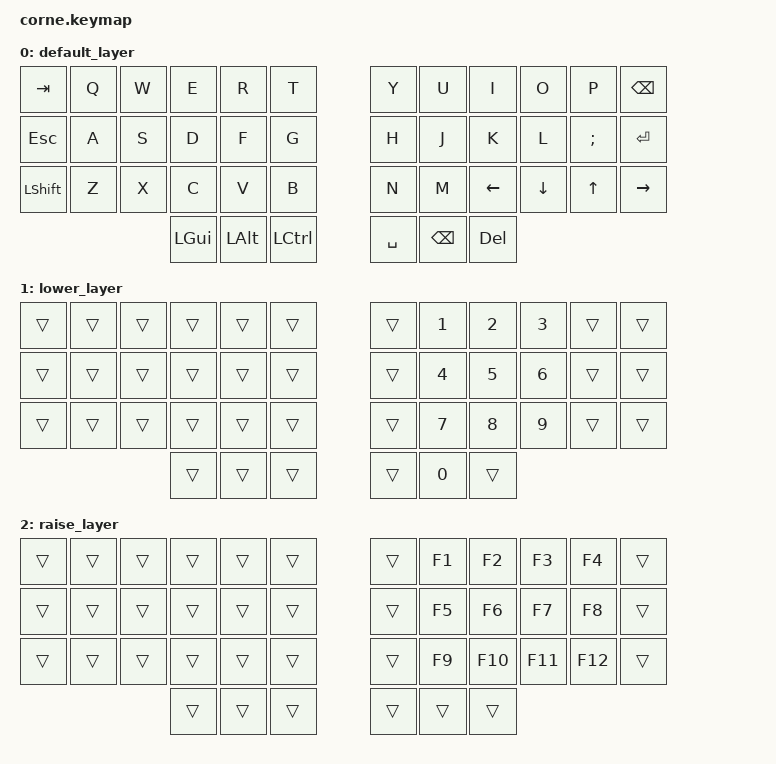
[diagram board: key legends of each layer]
/*
 * Copyright (c) 2020 The ZMK Contributors
 *
 * SPDX-License-Identifier: MIT
 */

#include <behaviors.dtsi>
#include <dt-bindings/zmk/keys.h>
#include <dt-bindings/zmk/bt.h>

/ {
        keymap {
                compatible = "zmk,keymap";


                default_layer {
// -----------------------------------------------------------------------------------------
// |  TAB |  Q  |  W  |  E  |  R  |  T  |   |  Y  |  U   |  I   |   O  |  P  |  BSPC |
// |  ESC |  A  |  S  |  D  |  F  |  G  |   |  H  |  J   |  K   |  L   |  ;  |  RET  |
// | SHFT |  Z  |  X  |  C  |  V  |  B  |   |  N  |  M   | LEFT | DOWN |  UP | RIGHT |
//                   | GUI | ALT | CTRL |   | SPC | BSPC | DEL |
                        bindings = <
   &kp TAB   &kp Q &kp W &kp E &kp R &kp T   &kp Y &kp U  &kp I     &kp O    &kp P          &kp BSPC
   &kp ESC   &kp A &kp S &kp D &kp F &kp G   &kp H &kp J  &kp K     &kp L    &kp SEMICOLON  &kp RET
   &kp LSHFT &kp Z &kp X &kp C &kp V &kp B   &kp N &kp M  &kp LEFT  &kp DOWN &kp UP         &kp RIGHT
               &kp LGUI &kp LALT &kp LCTRL   &kp SPC &kp BSPC &kp DEL
                        >;
                };
                lower_layer {
// -----------------------------------------------------------------------------------------
// |  TAB |  1  |  2  |  3  |  4  |  5  |   |  6  |  7  |  8  |  9  |  0  | BSPC |
// | BTCLR| BT1 | BT2 | BT3 | BT4 | BT5 |   | LFT | DWN |  UP | RGT |     |      |
// | SHFT |     |     |    3 |     |     |   |     |     |     |     |     |      |
//                    | GUI |     | SPC |   | ENT |     | ALT |
                        bindings = <
   &trans &trans &trans &trans &trans &trans   &trans &kp N1 &kp N2 &kp N3 &trans &trans
   &trans &trans &trans &trans &trans &trans   &trans &kp N4 &kp N5 &kp N6 &trans &trans
   &trans &trans &trans &trans &trans &trans   &trans &kp N7 &kp N8 &kp N9 &trans &trans
                        &trans &trans &trans   &trans &kp N0 &trans
                        >;
                };

                raise_layer {
// -----------------------------------------------------------------------------------------
// |  TAB |  !  |  @  |  #  |  $  |  %  |   |  ^  |  &  |  *  |  (  |  )  | BSPC |
// | CTRL |     |     |     |     |     |   |  -  |  =  |  [  |  ]  |  \  |  `   |
// | SHFT |     |     |     |     |     |   |  _  |  +  |  {  |  }  | "|" |  ~   |
//                    | GUI |     | SPC |   | ENT |     | ALT |
                        bindings = <
   &trans &trans &trans &trans &trans &trans   &trans &kp F1 &kp F2  &kp F3  &kp F4  &trans
   &trans &trans &trans &trans &trans &trans   &trans &kp F5 &kp F6  &kp F7  &kp F8  &trans
   &trans &trans &trans &trans &trans &trans   &trans &kp F9 &kp F10 &kp F11 &kp F12 &trans
                        &trans &trans &trans   &trans &trans &trans
                        >;
                };
        };

  combos {
    compatible = "zmk,combos";

    /* number layer */
    d_f_num {
      timeout-ms = <30>;
      key-positions = <15 16>;
      bindings = <&mo 1>;
    };

    w_d_num {
      timeout-ms = <30>;
      key-positions = <2 15>;
      bindings = <&mo 1>;
    };

    /* function layer */
    q_w_fun {
      timeout-ms = <30>;
      key-positions = <1 2>;
      bindings = <&mo 2>;
    };

    /* common symbols */
    l_apo_dot {
      key-positions = <21 22>;
      bindings = <&kp DOT>;
    };

    k_l_comm {
      key-positions = <20 21>;
      bindings = <&kp COMMA>;
    };

    j_l_apo_coln {
      key-positions = <19 21 22>;
      bindings = <&kp COLON>;
    };

    j_k_l_scln {
      key-positions = <19 20 21>;
      bindings = <&kp SEMICOLON>;
    };

    i_l_quot {
      key-positions = <8 21>;
      bindings = <&kp SINGLE_QUOTE>;
    };

    u_l_dquo {
      key-positions = <7 21>;
      bindings = <&kp DOUBLE_QUOTES>;
    };

    /* basic math symbols */
    y_u_eql {
      key-positions = <6 7>;
      bindings = <&kp EQUAL>;
    };

    h_j_mins {
      key-positions = <18 19>;
      bindings = <&kp MINUS>;
    };

    h_j_k_plus {
      key-positions = <18 19 20>;
      bindings = <&kp PLUS>;
    };

    n_m_unds {
      key-positions = <30 31>;
      bindings = <&kp UNDERSCORE>;
    };

    /* parentheses */
    spc_u_lbrc {
      key-positions = <7 39>;
      bindings = <&kp LEFT_BRACKET>;
    };

    spc_i_rbrc {
      key-positions = <8 39>;
      bindings = <&kp RIGHT_BRACKET>;
    };

    spc_j_lprn {
      key-positions = <19 39>;
      bindings = <&kp LEFT_PARENTHESIS>;
    };

    spc_k_rprn {
      key-positions = <20 39>;
      bindings = <&kp RIGHT_PARENTHESIS>;
    };

    spc_m_lcbr {
      key-positions = <31 39>;
      bindings = <&kp LEFT_BRACE>;
    };

    spc_left_rcbr {
      key-positions = <32 39>;
      bindings = <&kp RIGHT_BRACE>;
    };

    /* symbols */
    m_k_o_slsh {
      key-positions = <9 20 31>;
      bindings = <&kp SLASH>;
    };

    u_k_down_bsls {
      key-positions = <7 20 33>;
      bindings = <&kp BACKSLASH>;
    };

    i_j_bspc_pipe {
      key-positions = <8 19 40>;
      bindings = <&kp PIPE>;
    };

    i_j_l_circ {
      key-positions = <8 19 21>;
      bindings = <&kp CARET>;
    };

    i_j_ret_lt {
      key-positions = <8 19 41>;
      bindings = <&kp LESS_THAN>;
    };

    u_k_spc_gt {
      key-positions = <7 20 39>;
      bindings = <&kp GREATER_THAN>;
    };

    y_j_grv {
      key-positions = <6 19>;
      bindings = <&kp GRAVE>;
    };

    j_p_tild {
      key-positions = <10 19>;
      bindings = <&kp TILDE>;
    };

    y_u_i_hash {
      key-positions = <6 7 8>;
      bindings = <&kp HASH>;
    };

    u_down_perc {
      key-positions = <7 33>;
      bindings = <&kp PERCENT>;
    };

    u_i_l_exml {
      key-positions = <7 8 21>;
      bindings = <&kp EXCLAMATION>;
    };

    j_k_o_ques {
      key-positions = <9 19 20>;
      bindings = <&kp QUESTION>;
    };

    m_left_o_dlr {
      key-positions = <9 31 32>;
      bindings = <&kp DOLLAR>;
    };

    u_k_l_at {
      key-positions = <7 20 21>;
      bindings = <&kp AT_SIGN>;
    };

    h_k_ampr {
      key-positions = <18 20>;
      bindings = <&kp AMPERSAND>;
    };

    n_m_left_astr {
      key-positions = <30 31 32>;
      bindings = <&kp ASTERISK>;
    };

    /* navigation keys */
    u_i_o_home {
      key-positions = <7 8 9>;
      bindings = <&kp HOME>;
    };

    i_o_p_end {
      key-positions = <8 9 10>;
      bindings = <&kp HOME>;
    };

    n_down_pgdn {
      key-positions = <30 33>;
      bindings = <&kp PAGE_DOWN>;
    };

    n_up_pgup {
      key-positions = <30 34>;
      bindings = <&kp PAGE_UP>;
    };

    /* misc */
    q_s_c_f_t_reset {
      key-positions = <1 5 14 16 27>;
      bindings = <&sys_reset>;
    };

    y_j_left_l_p_reset {
      key-positions = <6 10 19 21 32>;
      bindings = <&sys_reset>;
    };

    bcsp_bcsp_next {
      key-positions = <11 40>;
      bindings = <&kp C_NEXT>;
    };

    bcsp_ret_play_pause {
      key-positions = <23 40>;
      bindings = <&kp C_PLAY_PAUSE>;
    };

    bcsp_right_previous {
      key-positions = <35 40>;
      bindings = <&kp C_PREVIOUS>;
    };
  };
};
